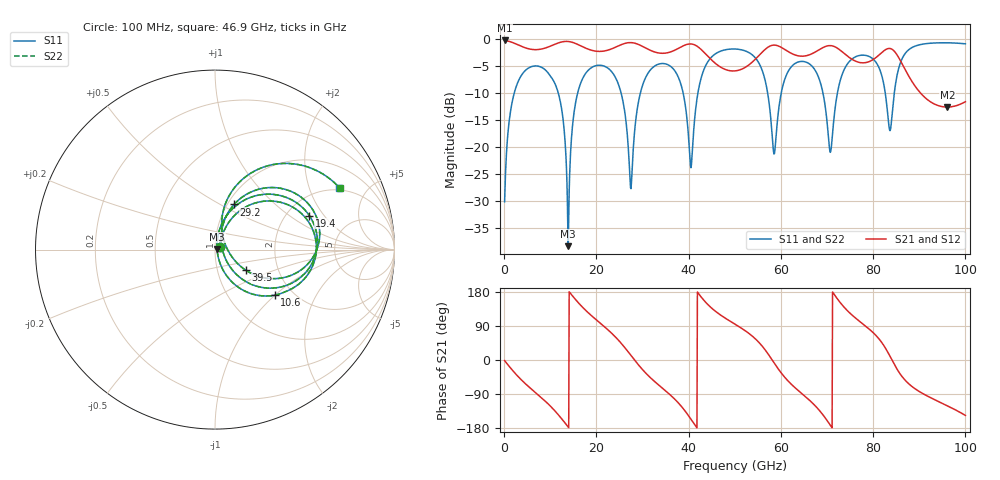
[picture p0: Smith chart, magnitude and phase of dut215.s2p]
! Touchstone file exported from HFSS 2026.1.0
!  File:  C:/ffzhzh/LocalFiles/Ansys_Project_Files/temp_train_TSV_RDL_215_1783661502_29156.aedt
!  Generated:  01:46:10 PM Jul 10, 2026
!  Design:  TSV_RDL
!  Project:  temp_train_TSV_RDL_215_1783661502_29156
! Variables:
!  h_bsmrdl = 2.81um
!  h_ox = 20um
!  h_rdl = 5um
!  h_sub = 56um
!  h_tmrdl = 2.7um
!  h_tsv = 56um
!  h_via = 3um
!  l_bsmrdl = 474.29um
!  l_sub = 4374.1um
!  l_tmrdl = 607.17um
!  m_sub = 200um
!  pitch = 51.84um
!  r_tsv = 13.71um
!  s_tmrdl = 10um
!  w_bsmrdl = 22.41um
!  w_sub = 500um
!  w_tmrdl = 18.44um
!  x_tsv_center1 = 616.39um
!  x_tsv_center2 = 1113.09um
!  x_tsv_center3 = 1738.7um
!  x_tsv_center4 = 2235.4um
!  x_tsv_center5 = 2861.01um
!  x_tsv_center6 = 3357.71um
# GHz S MA R 50.000000
! Terminal data exported
! Port[1] = TM_RDL1_1_T1
! Port[2] = TM_RDL5_1_T1
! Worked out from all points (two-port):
!   1000 points, 100 MHz to 100 GHz, reference 50 ohm
!   highest |S21| = -0.23 dB at 100 MHz (marker M1); lowest = -12.6 dB at 96.1 GHz (marker M2)
!   |S21| within 3 dB of the highest: start of sweep to 44.24 GHz; 55.02 GHz to 74.57 GHz (19.56 GHz wide, 30.2 % of centre) (the widest 2 of 3)
!   lowest |S11| = -38.5 dB at 13.9 GHz (marker M3), VSWR 1.02, Z = 51.1 + j0.394 ohm
!   |S11| at or under -10 dB: 11.73 GHz to 15.93 GHz (4.2 GHz wide, 30.4 % of centre); 25.36 GHz to 29.53 GHz (4.176 GHz wide, 15.2 % of centre); 38.81 GHz to 42.01 GHz (3.2 GHz wide, 7.92 % of centre) (the widest 3 of 7)
!   |S22| runs from -38.3 to -0.7 dB; largest |S21 - S12| = 3e-14
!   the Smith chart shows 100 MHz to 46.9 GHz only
!   S11 on the Smith chart (normalised r, x): 100 MHz: 1.05, +0.03; 10.6 GHz: 1.62, -1.00; 19.4 GHz: 2.63, +1.45; 29.2 GHz: 1.07, +0.58; 39.5 GHz: 1.37, -0.33; 46.9 GHz: 1.88, +3.24
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0.1  0.03087 32.3  0.9742 -1.6  0.9742 -1.6  0.03087 32.3
! Gamma 0 0 0 0
! Port Impedance 50 0 50 0
3.2  0.4189 40.2  0.8791 -45.9  0.8791 -45.9  0.4189 40.2
10.6  0.4185 -37.4  0.8833 -128.9  0.8833 -128.9  0.4185 -37.3
13.9  0.01193 18.8  0.9531 -177.0  0.9531 -177.0  0.01211 19.7
16.8  0.4114 48.5  0.8605 141.7  0.8605 141.7  0.4114 48.4
19.4  0.5586 19.8  0.7811 112.1  0.7811 112.1  0.5586 19.8
24.8  0.3789 -34.6  0.8681 52.0  0.8681 52.0  0.3789 -34.6
27.4  0.04171 -2.0  0.9307 13.5  0.9307 13.5  0.04199 -1.9
29.2  0.2729 67.1  0.8914 -14.1  0.8914 -14.1  0.2729 67.1
33.4  0.5855 23.5  0.7466 -65.0  0.7466 -65.0  0.5855 23.5
39.5  0.2055 -33.8  0.8917 -139.0  0.8917 -139.0  0.2055 -33.8
40.6  0.06785 39.4  0.9035 -157.9  0.9035 -157.9  0.06784 39.3
46.9  0.7743 26.4  0.5514 118.8  0.5514 118.8  0.7744 26.4
50.1  0.8112 4.0  0.5082 94.2  0.5082 94.2  0.8113 4.0
58.4  0.09052 -23.7  0.8817 -5.3  0.8817 -5.3  0.08901 -24.1
66.7  0.5648 -19.0  0.732 -111.9  0.732 -111.9  0.5648 -19.0
71.6  0.2011 55.8  0.855 172.3  0.855 172.3  0.2001 56.2
78  0.711 2.9  0.604 93.0  0.604 93.0  0.711 3.0
83.4  0.1596 -16.0  0.8212 15.7  0.8212 15.7  0.1614 -15.7
86.4  0.6759 33.6  0.5775 -45.7  0.5775 -45.7  0.6759 33.5
96.1  0.9266 -31.0  0.2342 -120.9  0.2342 -120.9  0.9265 -31.0
100  0.9064 -54.3  0.2627 -146.2  0.2627 -146.2  0.9064 -54.3
